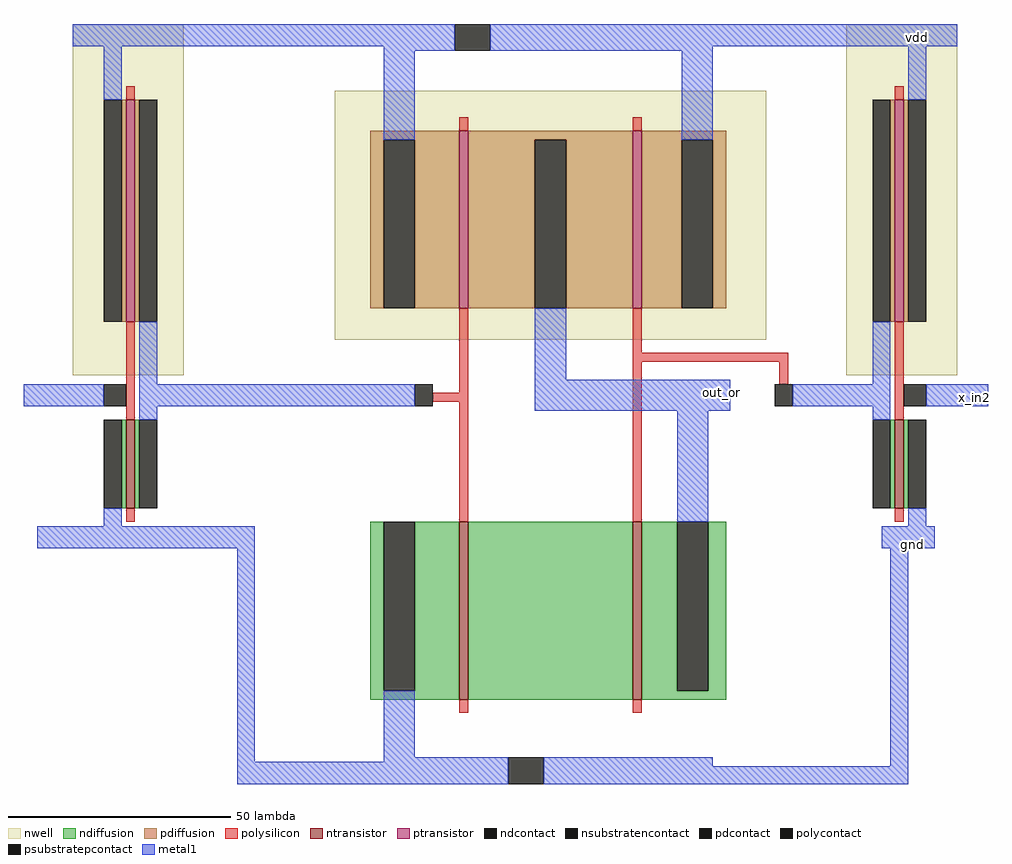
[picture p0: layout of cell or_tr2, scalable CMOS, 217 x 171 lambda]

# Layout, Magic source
magic
tech scmos
<< nwell >>
rect 115 92 140 171
<< ntransistor >>
rect 126 62 128 82
<< ptransistor >>
rect 126 104 128 154
<< ndiffusion >>
rect 125 62 126 82
rect 128 62 129 82
<< pdiffusion >>
rect 125 104 126 154
rect 128 104 129 154
<< ndcontact >>
rect 121 62 125 82
rect 129 62 133 82
<< pdcontact >>
rect 121 104 125 154
rect 129 104 133 154
<< polysilicon >>
rect 126 154 128 157
rect 69 95 102 97
rect 100 90 102 95
rect 22 86 28 88
rect 126 82 128 104
rect 126 59 128 62
<< polycontact >>
rect 18 85 22 90
rect 99 85 103 90
rect 128 85 133 90
<< metal1 >>
rect -36 166 12 171
rect 84 166 140 171
rect 129 154 133 166
rect -70 85 -65 90
rect -19 85 18 90
rect 83 84 89 91
rect 121 90 125 104
rect 103 85 125 90
rect 133 85 147 90
rect 121 82 125 85
rect 129 58 133 62
rect -22 5 -18 55
rect 123 53 135 58
rect -22 0 12 5
rect 125 4 129 53
rect 84 0 129 4
use first  first_0
transform 1 0 -145 0 1 96
box 78 -43 127 75
use nand_tr  nand_tr_0
transform 1 0 0 0 1 100
box 0 -100 97 71
<< labels >>
rlabel metal1 87 88 87 88 1 out_or
rlabel metal1 130 54 130 54 1 gnd
rlabel metal1 131 168 131 168 5 vdd
rlabel metal1 144 87 144 87 7 x_in2
<< end >>

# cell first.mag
magic
tech scmos
<< nwell >>
rect 86 -4 111 75
<< ntransistor >>
rect 98 -34 100 -14
<< ptransistor >>
rect 98 8 100 58
<< ndiffusion >>
rect 97 -34 98 -14
rect 100 -34 101 -14
<< pdiffusion >>
rect 97 8 98 58
rect 100 8 101 58
<< ndcontact >>
rect 93 -34 97 -14
rect 101 -34 105 -14
<< pdcontact >>
rect 93 8 97 58
rect 101 8 105 58
<< polysilicon >>
rect 98 58 100 61
rect 98 -14 100 8
rect 98 -37 100 -34
<< polycontact >>
rect 93 -11 98 -6
<< metal1 >>
rect 86 70 111 75
rect 93 58 97 70
rect 101 -6 105 8
rect 79 -11 93 -6
rect 101 -11 127 -6
rect 101 -14 105 -11
rect 93 -38 97 -34
rect 78 -43 127 -38
<< labels >>
rlabel metal1 96 -42 96 -42 1 gnd
rlabel metal1 95 72 95 72 5 vdd
<< end >>

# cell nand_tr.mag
magic
tech scmos
<< nwell >>
rect 0 0 97 56
<< ntransistor >>
rect 28 -81 30 -41
rect 67 -81 69 -41
<< ptransistor >>
rect 28 7 30 47
rect 67 7 69 47
<< ndiffusion >>
rect 8 -79 11 -41
rect 18 -79 28 -41
rect 8 -81 28 -79
rect 30 -81 67 -41
rect 69 -79 77 -41
rect 84 -79 88 -41
rect 69 -81 88 -79
<< pdiffusion >>
rect 8 45 28 47
rect 8 7 11 45
rect 18 7 28 45
rect 30 45 67 47
rect 30 7 45 45
rect 52 7 67 45
rect 69 45 88 47
rect 69 7 78 45
rect 85 7 88 45
<< ndcontact >>
rect 11 -79 18 -41
rect 77 -79 84 -41
<< pdcontact >>
rect 11 7 18 45
rect 45 7 52 45
rect 78 7 85 45
<< psubstratepcontact >>
rect 39 -100 47 -94
<< nsubstratencontact >>
rect 27 65 35 71
<< polysilicon >>
rect 28 47 30 50
rect 67 47 69 50
rect 28 -41 30 7
rect 67 -41 69 7
rect 28 -84 30 -81
rect 67 -84 69 -81
<< metal1 >>
rect 11 65 27 71
rect 35 65 85 71
rect 11 45 18 65
rect 78 45 85 65
rect 45 -9 52 7
rect 45 -16 84 -9
rect 77 -41 84 -16
rect 11 -94 18 -79
rect 11 -100 39 -94
rect 47 -100 85 -94
<< labels >>
rlabel metal1 67 -97 67 -97 1 gnd
rlabel metal1 59 68 59 68 5 vdd
<< end >>
